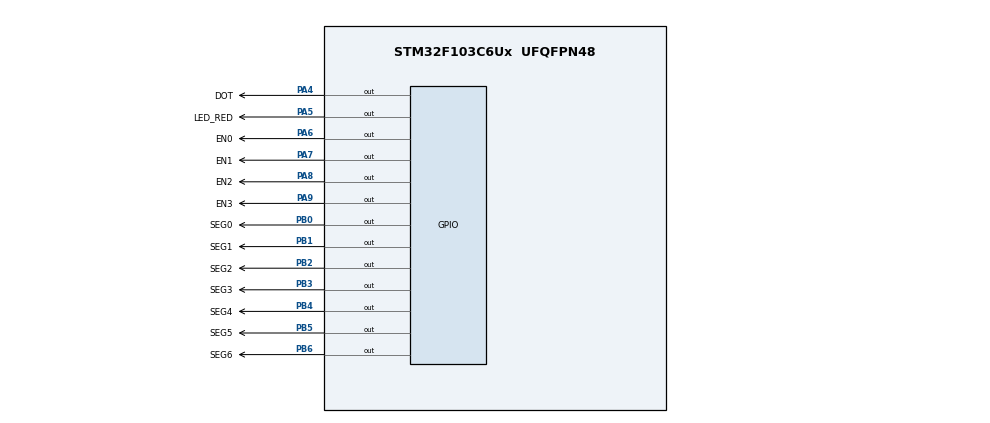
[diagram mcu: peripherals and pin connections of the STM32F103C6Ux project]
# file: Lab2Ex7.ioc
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Mcu.Family=STM32F1
Mcu.Name=STM32F103C6Ux
Mcu.Package=UFQFPN48
NVIC.PriorityGroup=NVIC_PRIORITYGROUP_4
NVIC.TIM2_IRQn=true\:0\:0\:false\:false\:true\:true\:true
PA4.GPIO_Label=DOT
PA4.Signal=GPIO_Output
PA5.GPIO_Label=LED_RED
PA5.Signal=GPIO_Output
PA6.GPIO_Label=EN0
PA6.Signal=GPIO_Output
PA7.GPIO_Label=EN1
PA7.Signal=GPIO_Output
PA8.GPIO_Label=EN2
PA8.Signal=GPIO_Output
PA9.GPIO_Label=EN3
PA9.Signal=GPIO_Output
PB0.GPIO_Label=SEG0
PB0.Signal=GPIO_Output
PB1.GPIO_Label=SEG1
PB1.Signal=GPIO_Output
PB2.GPIO_Label=SEG2
PB2.Signal=GPIO_Output
PB3.GPIO_Label=SEG3
PB3.Signal=GPIO_Output
PB4.GPIO_Label=SEG4
PB4.Signal=GPIO_Output
PB5.GPIO_Label=SEG5
PB5.Signal=GPIO_Output
PB6.GPIO_Label=SEG6
PB6.Signal=GPIO_Output
ProjectManager.HeapSize=0x200
ProjectManager.StackSize=0x400
ProjectManager.TargetToolchain=STM32CubeIDE
RCC.APB1Freq_Value=8000000
RCC.APB2Freq_Value=8000000
TIM2.Period=9
TIM2.Prescaler=7999
VP_SYS_VS_ND.Mode=No_Debug
VP_TIM2_VS_ClockSourceINT.Mode=Internal
board=custom

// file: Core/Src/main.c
/* USER CODE BEGIN Header */
/**
  ******************************************************************************
  * @file           : main.c
  * @brief          : Main program body
  ******************************************************************************
  * @attention
  *
  * <h2><center>&copy; Copyright (c) 2025 STMicroelectronics.
  * All rights reserved.</center></h2>
  *
  * This software component is licensed by ST under BSD 3-Clause license,
  * the "License"; You may not use this file except in compliance with the
  * License. You may obtain a copy of the License at:
  *                        opensource.org/licenses/BSD-3-Clause
  *
  ******************************************************************************
  */
/* USER CODE END Header */
#include "main.h"

TIM_HandleTypeDef htim2;

void SystemClock_Config(void);
static void MX_GPIO_Init(void);
static void MX_TIM2_Init(void);

/* USER CODE BEGIN 0 */

// 7SEG DISPLAY
void display7SEG(int num) {
	switch(num) {
		case 0:
			HAL_GPIO_WritePin(SEG0_GPIO_Port, SEG0_Pin, GPIO_PIN_RESET);
			HAL_GPIO_WritePin(SEG1_GPIO_Port, SEG1_Pin, GPIO_PIN_RESET);
			HAL_GPIO_WritePin(SEG2_GPIO_Port, SEG2_Pin, GPIO_PIN_RESET);
			HAL_GPIO_WritePin(SEG3_GPIO_Port, SEG3_Pin, GPIO_PIN_RESET);
			HAL_GPIO_WritePin(SEG4_GPIO_Port, SEG4_Pin, GPIO_PIN_RESET);
			HAL_GPIO_WritePin(SEG5_GPIO_Port, SEG5_Pin, GPIO_PIN_RESET);
			HAL_GPIO_WritePin(SEG6_GPIO_Port, SEG6_Pin, GPIO_PIN_SET);
			break;
		case 1:
			HAL_GPIO_WritePin(SEG0_GPIO_Port, SEG0_Pin, GPIO_PIN_SET);
			HAL_GPIO_WritePin(SEG1_GPIO_Port, SEG1_Pin, GPIO_PIN_RESET);
			HAL_GPIO_WritePin(SEG2_GPIO_Port, SEG2_Pin, GPIO_PIN_RESET);
			HAL_GPIO_WritePin(SEG3_GPIO_Port, SEG3_Pin, GPIO_PIN_SET);
			HAL_GPIO_WritePin(SEG4_GPIO_Port, SEG4_Pin, GPIO_PIN_SET);
			HAL_GPIO_WritePin(SEG5_GPIO_Port, SEG5_Pin, GPIO_PIN_SET);
			HAL_GPIO_WritePin(SEG6_GPIO_Port, SEG6_Pin, GPIO_PIN_SET);
			break;
		case 2:
			HAL_GPIO_WritePin(SEG0_GPIO_Port, SEG0_Pin, GPIO_PIN_RESET);
			HAL_GPIO_WritePin(SEG1_GPIO_Port, SEG1_Pin, GPIO_PIN_RESET);
			HAL_GPIO_WritePin(SEG2_GPIO_Port, SEG2_Pin, GPIO_PIN_SET);
			HAL_GPIO_WritePin(SEG3_GPIO_Port, SEG3_Pin, GPIO_PIN_RESET);
			HAL_GPIO_WritePin(SEG4_GPIO_Port, SEG4_Pin, GPIO_PIN_RESET);
			HAL_GPIO_WritePin(SEG5_GPIO_Port, SEG5_Pin, GPIO_PIN_SET);
			HAL_GPIO_WritePin(SEG6_GPIO_Port, SEG6_Pin, GPIO_PIN_RESET);
			break;
		case 3:
			HAL_GPIO_WritePin(SEG0_GPIO_Port, SEG0_Pin, GPIO_PIN_RESET);
			HAL_GPIO_WritePin(SEG1_GPIO_Port, SEG1_Pin, GPIO_PIN_RESET);
			HAL_GPIO_WritePin(SEG2_GPIO_Port, SEG2_Pin, GPIO_PIN_RESET);
			HAL_GPIO_WritePin(SEG3_GPIO_Port, SEG3_Pin, GPIO_PIN_RESET);
			HAL_GPIO_WritePin(SEG4_GPIO_Port, SEG4_Pin, GPIO_PIN_SET);
			HAL_GPIO_WritePin(SEG5_GPIO_Port, SEG5_Pin, GPIO_PIN_SET);
			HAL_GPIO_WritePin(SEG6_GPIO_Port, SEG6_Pin, GPIO_PIN_RESET);
			break;
		case 4:
			HAL_GPIO_WritePin(SEG0_GPIO_Port, SEG0_Pin, GPIO_PIN_SET);
			HAL_GPIO_WritePin(SEG1_GPIO_Port, SEG1_Pin, GPIO_PIN_RESET);
			HAL_GPIO_WritePin(SEG2_GPIO_Port, SEG2_Pin, GPIO_PIN_RESET);
			HAL_GPIO_WritePin(SEG3_GPIO_Port, SEG3_Pin, GPIO_PIN_SET);
			HAL_GPIO_WritePin(SEG4_GPIO_Port, SEG4_Pin, GPIO_PIN_SET);
			HAL_GPIO_WritePin(SEG5_GPIO_Port, SEG5_Pin, GPIO_PIN_RESET);
			HAL_GPIO_WritePin(SEG6_GPIO_Port, SEG6_Pin, GPIO_PIN_RESET);
			break;
		case 5:
			HAL_GPIO_WritePin(SEG0_GPIO_Port, SEG0_Pin, GPIO_PIN_RESET);
			HAL_GPIO_WritePin(SEG1_GPIO_Port, SEG1_Pin, GPIO_PIN_SET);
			HAL_GPIO_WritePin(SEG2_GPIO_Port, SEG2_Pin, GPIO_PIN_RESET);
			HAL_GPIO_WritePin(SEG3_GPIO_Port, SEG3_Pin, GPIO_PIN_RESET);
			HAL_GPIO_WritePin(SEG4_GPIO_Port, SEG4_Pin, GPIO_PIN_SET);
			HAL_GPIO_WritePin(SEG5_GPIO_Port, SEG5_Pin, GPIO_PIN_RESET);
			HAL_GPIO_WritePin(SEG6_GPIO_Port, SEG6_Pin, GPIO_PIN_RESET);
			break;
		case 6:
			HAL_GPIO_WritePin(SEG0_GPIO_Port, SEG0_Pin, GPIO_PIN_RESET);
			HAL_GPIO_WritePin(SEG1_GPIO_Port, SEG1_Pin, GPIO_PIN_SET);
			HAL_GPIO_WritePin(SEG2_GPIO_Port, SEG2_Pin, GPIO_PIN_RESET);
			HAL_GPIO_WritePin(SEG3_GPIO_Port, SEG3_Pin, GPIO_PIN_RESET);
			HAL_GPIO_WritePin(SEG4_GPIO_Port, SEG4_Pin, GPIO_PIN_RESET);
			HAL_GPIO_WritePin(SEG5_GPIO_Port, SEG5_Pin, GPIO_PIN_RESET);
			HAL_GPIO_WritePin(SEG6_GPIO_Port, SEG6_Pin, GPIO_PIN_RESET);
			break;
		case 7:
			HAL_GPIO_WritePin(SEG0_GPIO_Port, SEG0_Pin, GPIO_PIN_RESET);
			HAL_GPIO_WritePin(SEG1_GPIO_Port, SEG1_Pin, GPIO_PIN_RESET);
			HAL_GPIO_WritePin(SEG2_GPIO_Port, SEG2_Pin, GPIO_PIN_RESET);
			HAL_GPIO_WritePin(SEG3_GPIO_Port, SEG3_Pin, GPIO_PIN_SET);
			HAL_GPIO_WritePin(SEG4_GPIO_Port, SEG4_Pin, GPIO_PIN_SET);
			HAL_GPIO_WritePin(SEG5_GPIO_Port, SEG5_Pin, GPIO_PIN_SET);
			HAL_GPIO_WritePin(SEG6_GPIO_Port, SEG6_Pin, GPIO_PIN_SET);
			break;
		case 8:
			HAL_GPIO_WritePin(SEG0_GPIO_Port, SEG0_Pin, GPIO_PIN_RESET);
			HAL_GPIO_WritePin(SEG1_GPIO_Port, SEG1_Pin, GPIO_PIN_RESET);
			HAL_GPIO_WritePin(SEG2_GPIO_Port, SEG2_Pin, GPIO_PIN_RESET);
			HAL_GPIO_WritePin(SEG3_GPIO_Port, SEG3_Pin, GPIO_PIN_RESET);
			HAL_GPIO_WritePin(SEG4_GPIO_Port, SEG4_Pin, GPIO_PIN_RESET);
			HAL_GPIO_WritePin(SEG5_GPIO_Port, SEG5_Pin, GPIO_PIN_RESET);
			HAL_GPIO_WritePin(SEG6_GPIO_Port, SEG6_Pin, GPIO_PIN_RESET);
			break;
		case 9:
			HAL_GPIO_WritePin(SEG0_GPIO_Port, SEG0_Pin, GPIO_PIN_RESET);
			HAL_GPIO_WritePin(SEG1_GPIO_Port, SEG1_Pin, GPIO_PIN_RESET);
			HAL_GPIO_WritePin(SEG2_GPIO_Port, SEG2_Pin, GPIO_PIN_RESET);
			HAL_GPIO_WritePin(SEG3_GPIO_Port, SEG3_Pin, GPIO_PIN_RESET);
			HAL_GPIO_WritePin(SEG4_GPIO_Port, SEG4_Pin, GPIO_PIN_SET);
			HAL_GPIO_WritePin(SEG5_GPIO_Port, SEG5_Pin, GPIO_PIN_RESET);
			HAL_GPIO_WritePin(SEG6_GPIO_Port, SEG6_Pin, GPIO_PIN_RESET);
			break;
		default:
			HAL_GPIO_WritePin(SEG0_GPIO_Port, SEG0_Pin, GPIO_PIN_SET);
			HAL_GPIO_WritePin(SEG1_GPIO_Port, SEG1_Pin, GPIO_PIN_SET);
			HAL_GPIO_WritePin(SEG2_GPIO_Port, SEG2_Pin, GPIO_PIN_SET);
			HAL_GPIO_WritePin(SEG3_GPIO_Port, SEG3_Pin, GPIO_PIN_SET);
			HAL_GPIO_WritePin(SEG4_GPIO_Port, SEG4_Pin, GPIO_PIN_SET);
			HAL_GPIO_WritePin(SEG5_GPIO_Port, SEG5_Pin, GPIO_PIN_SET);
			HAL_GPIO_WritePin(SEG6_GPIO_Port, SEG6_Pin, GPIO_PIN_SET);
	};
};

const int MAX_LED = 4;
int index_led = 0;
int led_buffer[4] = {1, 2, 3, 4};

void update7SEG(int index)
{
	switch(index)
	{
	case 0:
		//Display the first 7SEG with led_buffer[0]
		display7SEG(led_buffer[0]);
		HAL_GPIO_WritePin(EN0_GPIO_Port, EN0_Pin, GPIO_PIN_RESET);
		HAL_Delay(250);
		HAL_GPIO_WritePin(EN0_GPIO_Port, EN0_Pin, GPIO_PIN_SET);
		break;

	case 1:
		//Display the second 7SEG with led_buffer[1]
		display7SEG(led_buffer[1]);
		HAL_GPIO_WritePin(EN1_GPIO_Port, EN1_Pin, GPIO_PIN_RESET);
		HAL_Delay(250);
		HAL_GPIO_WritePin(EN1_GPIO_Port, EN1_Pin, GPIO_PIN_SET);
		break;

	case 2:
		//Display the third 7SEG with led_buffer[2]
		display7SEG(led_buffer[2]);
		HAL_GPIO_WritePin(EN2_GPIO_Port, EN2_Pin, GPIO_PIN_RESET);
		HAL_Delay(250);
		HAL_GPIO_WritePin(EN2_GPIO_Port, EN2_Pin, GPIO_PIN_SET);
		break;

	case 3:
		//Display the forth 7SEG with led_buffer[3]
		display7SEG(led_buffer[3]);
		HAL_GPIO_WritePin(EN3_GPIO_Port, EN3_Pin, GPIO_PIN_RESET);
		HAL_Delay(250);
		HAL_GPIO_WritePin(EN3_GPIO_Port, EN3_Pin, GPIO_PIN_SET);
		break;

	default:
		break;

	};
};

// HOUR, MINUTE , SECOND
int hour = 15, minute = 8, second = 50;

void updateClockBuffer()
{
	led_buffer[0] = hour / 10;
	led_buffer[1] = hour % 10;
	led_buffer[2] = minute / 10;
	led_buffer[3] = minute % 10;
};

// SOFTWARE TIMER
int timer0_counter = 0;
int timer0_flag = 0;
int TIMER_CYCLE = 10; // 10ms cycle

void setTimer0(int duration)
{
	timer0_counter = duration / TIMER_CYCLE;
	timer0_flag = 0;

}

void timer_run()
{
	if(timer0_counter > 0)
	{
		timer0_counter--;
	}

	if(timer0_counter == 0) timer0_flag = 1;
}

/* USER CODE END 0 */

int main(void)
{

  /* MCU Configuration--------------------------------------------------------*/

  /* Reset of all peripherals, Initializes the Flash interface and the Systick. */
  HAL_Init();

  /* Configure the system clock */
  SystemClock_Config();

  /* Initialize all configured peripherals */
  MX_GPIO_Init();
  MX_TIM2_Init();
  /* USER CODE BEGIN 2 */

  // TIMER INIT FUNCTION
  HAL_TIM_Base_Start_IT(&htim2);

  //
  setTimer0(1000);

  /* USER CODE END 2 */

  /* Infinite loop */
  while (1)
  {

    /* USER CODE BEGIN 3 */

	  HAL_GPIO_WritePin(DOT_GPIO_Port, DOT_Pin, GPIO_PIN_RESET);

	  if(timer0_flag == 1)
	  {
		  if (second >= 60)
	  	  {
		  	  second = 0;
		  	  minute++;
	  	  }
	  	  if(minute >= 60)
	  	  {
	  		  minute = 0;
	  		  hour++;
	  	  }
	  	  if(hour >=24)
	  	  {
	  		  hour = 0;
	  	  }

	  	  //
	  	  updateClockBuffer();

	  	  //
	  	  for (int index = 0; index < MAX_LED; ++index)
	  	  {
	  		  update7SEG(index);
	  	  }

	  	  // RESET FLAG
	  	  timer0_flag = 0;
	  }

	  HAL_GPIO_WritePin(DOT_GPIO_Port, DOT_Pin, GPIO_PIN_SET);
  }
  /* USER CODE END 3 */
}

void SystemClock_Config(void)
{
  RCC_OscInitTypeDef RCC_OscInitStruct = {0};
  RCC_ClkInitTypeDef RCC_ClkInitStruct = {0};

  /** Initializes the RCC Oscillators according to the specified parameters
  * in the RCC_OscInitTypeDef structure.
  */
  RCC_OscInitStruct.OscillatorType = RCC_OSCILLATORTYPE_HSI;
  RCC_OscInitStruct.HSIState = RCC_HSI_ON;
  RCC_OscInitStruct.HSICalibrationValue = RCC_HSICALIBRATION_DEFAULT;
  RCC_OscInitStruct.PLL.PLLState = RCC_PLL_NONE;
  if (HAL_RCC_OscConfig(&RCC_OscInitStruct) != HAL_OK)
  {
    Error_Handler();
  }
  /** Initializes the CPU, AHB and APB buses clocks
  */
  RCC_ClkInitStruct.ClockType = RCC_CLOCKTYPE_HCLK|RCC_CLOCKTYPE_SYSCLK
                              |RCC_CLOCKTYPE_PCLK1|RCC_CLOCKTYPE_PCLK2;
  RCC_ClkInitStruct.SYSCLKSource = RCC_SYSCLKSOURCE_HSI;
  RCC_ClkInitStruct.AHBCLKDivider = RCC_SYSCLK_DIV1;
  RCC_ClkInitStruct.APB1CLKDivider = RCC_HCLK_DIV1;
  RCC_ClkInitStruct.APB2CLKDivider = RCC_HCLK_DIV1;

  if (HAL_RCC_ClockConfig(&RCC_ClkInitStruct, FLASH_LATENCY_0) != HAL_OK)
  {
    Error_Handler();
  }
}

static void MX_TIM2_Init(void)
{

  TIM_ClockConfigTypeDef sClockSourceConfig = {0};
  TIM_MasterConfigTypeDef sMasterConfig = {0};

  htim2.Instance = TIM2;
  htim2.Init.Prescaler = 7999;
  htim2.Init.CounterMode = TIM_COUNTERMODE_UP;
  htim2.Init.Period = 9;
  htim2.Init.ClockDivision = TIM_CLOCKDIVISION_DIV1;
  htim2.Init.AutoReloadPreload = TIM_AUTORELOAD_PRELOAD_DISABLE;
  if (HAL_TIM_Base_Init(&htim2) != HAL_OK)
  {
    Error_Handler();
  }
  sClockSourceConfig.ClockSource = TIM_CLOCKSOURCE_INTERNAL;
  if (HAL_TIM_ConfigClockSource(&htim2, &sClockSourceConfig) != HAL_OK)
  {
    Error_Handler();
  }
  sMasterConfig.MasterOutputTrigger = TIM_TRGO_RESET;
  sMasterConfig.MasterSlaveMode = TIM_MASTERSLAVEMODE_DISABLE;
  if (HAL_TIMEx_MasterConfigSynchronization(&htim2, &sMasterConfig) != HAL_OK)
  {
    Error_Handler();
  }

}

static void MX_GPIO_Init(void)
{
  GPIO_InitTypeDef GPIO_InitStruct = {0};

  /* GPIO Ports Clock Enable */
  __HAL_RCC_GPIOA_CLK_ENABLE();
  __HAL_RCC_GPIOB_CLK_ENABLE();

  /*Configure GPIO pin Output Level */
  HAL_GPIO_WritePin(GPIOA, DOT_Pin|LED_RED_Pin|EN0_Pin|EN1_Pin
                          |EN2_Pin|EN3_Pin, GPIO_PIN_RESET);

  /*Configure GPIO pin Output Level */
  HAL_GPIO_WritePin(GPIOB, SEG0_Pin|SEG1_Pin|SEG2_Pin|SEG3_Pin
                          |SEG4_Pin|SEG5_Pin|SEG6_Pin, GPIO_PIN_RESET);

  /*Configure GPIO pins : DOT_Pin LED_RED_Pin EN0_Pin EN1_Pin
                           EN2_Pin EN3_Pin */
  GPIO_InitStruct.Pin = DOT_Pin|LED_RED_Pin|EN0_Pin|EN1_Pin
                          |EN2_Pin|EN3_Pin;
  GPIO_InitStruct.Mode = GPIO_MODE_OUTPUT_PP;
  GPIO_InitStruct.Pull = GPIO_NOPULL;
  GPIO_InitStruct.Speed = GPIO_SPEED_FREQ_LOW;
  HAL_GPIO_Init(GPIOA, &GPIO_InitStruct);

  /*Configure GPIO pins : SEG0_Pin SEG1_Pin SEG2_Pin SEG3_Pin
                           SEG4_Pin SEG5_Pin SEG6_Pin */
  GPIO_InitStruct.Pin = SEG0_Pin|SEG1_Pin|SEG2_Pin|SEG3_Pin
                          |SEG4_Pin|SEG5_Pin|SEG6_Pin;
  GPIO_InitStruct.Mode = GPIO_MODE_OUTPUT_PP;
  GPIO_InitStruct.Pull = GPIO_NOPULL;
  GPIO_InitStruct.Speed = GPIO_SPEED_FREQ_LOW;
  HAL_GPIO_Init(GPIOB, &GPIO_InitStruct);

}

/* USER CODE BEGIN 4 */

// CALLBACK FUNCTION
int counter = 100;
void HAL_TIM_PeriodElapsedCallback(TIM_HandleTypeDef *htim)
{
	counter--;
	if(counter <= 0)
	{
		counter = 100;

		// CODE
		timer_run();
	}
}

/* USER CODE END 4 */

void Error_Handler(void)
{
  __disable_irq();
  while (1)
  {
  }
}

/************************ (C) COPYRIGHT STMicroelectronics *****END OF FILE****/
